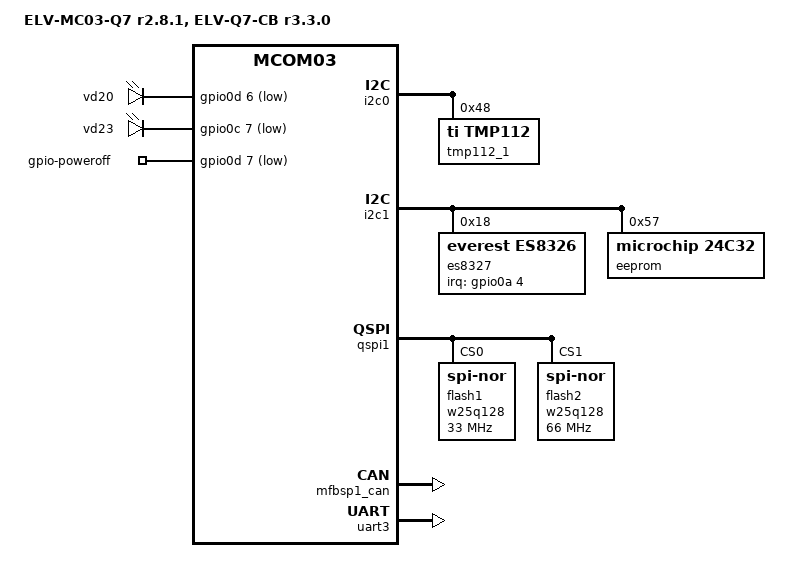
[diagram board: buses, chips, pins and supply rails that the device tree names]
// SPDX-License-Identifier: GPL-2.0+
// Copyright 2024 RnD Center "ELVEES", JSC

/dts-v1/;

#include <dt-bindings/input/linux-event-codes.h>

#include "mcom03-elvmc03q7-r2.8.1-elvq7cb-r1.0.0.dts"

/ {
	model = "ELV-MC03-Q7 r2.8.1, ELV-Q7-CB r3.3.0";
	compatible = "elvees,elvmc03q7-r2.8.1-elvq7cb-r3.3.0",
		     "elvees,elvmc03q7-elvq7cb",
		     "elvees,elvq7cb-r3.3.0",
		     "elvees,elvq7cb",
		     "elvees,elvmc03q7-r2.8.1",
		     "elvees,elvmc03q7",
		     "elvees,mcom03";

	/delete-node/ elvq7cb-leds;

	elvq7cb-leds {
		compatible = "gpio-leds";

		vd20 {
			gpios = <&gpio0d 6 GPIO_ACTIVE_LOW>;
			default-state = "off";
		};

		vd23 {
			gpios = <&gpio0c 7 GPIO_ACTIVE_LOW>;
			default-state = "off";
		};
	};

	elvq7cb-keys {
		/delete-node/ btn0;
		/delete-node/ btn1;
		/delete-node/ btn2;
		/delete-node/ btn3;
	};

	/delete-node/ vdda-codec;

	gpio-poweroff {
		compatible = "gpio-poweroff";
		gpios = <&gpio0d 7 GPIO_ACTIVE_LOW>; // Use SUS_S5 to poweroff
		timeout-ms = <1000>;
	};
};

/* TRS (3.5mm jack) connected to ES8327 codec.
   ES8327 connected to MCom-03 MFBSP0-I2S as I2S slave.
 */
&elvq7cb_i2s_asound {
	/delete-property/ simple-audio-card,routing;

	simple-audio-card,codec {
		sound-dai = <&es8327>;
	};
};

&i2c0 {
	/delete-node/ hwmon@49;
	/delete-node/ hwmon@4a;
	/delete-node/ gpio-expander@20;

	tmp112_1: temperature-sensor@48 {
		compatible = "ti,tmp112";
		reg = <0x48>;
	};
};

&i2c1 {
	/delete-node/ codec@a;
	/delete-node/ gpio-expander@20;

	es8327: codec@18 {
		compatible = "everest,es8326";
		reg = <0x18>;

		interrupt-parent = <&gpio0a>;
		interrupts = <4 IRQ_TYPE_EDGE_RISING>;

		clocks = <&audio_mclk>;
		clock-names = "mclk";
		#sound-dai-cells = <0>;
		everest,mic1-src = [22];
		everest,mic2-src = [44];
		everest,jack-pol = [0e];
		everest,interrupt-src = [08];
		everest,interrupt-clk = [45];
	};

	eeprom@57 {
		compatible = "microchip,24c32", "atmel,24c32";
		reg = <0x57>;
	};
};

&qspi1 {
	/delete-node/ m25p32@0;
	/delete-node/ m25p32@1;

	flash1: w25q128@0 {
		#address-cells = <1>;
		#size-cells = <1>;
		compatible = "jedec,spi-nor", "spi-flash";
		reg = <0x0>;
		/* This is the highest frequency at which all commands are
		 * supported by the flash device.
		 */
		spi-max-frequency = <33000000>;
		m25p,fast-read;
	};

	flash2: w25q128@1 {
		#address-cells = <1>;
		#size-cells = <1>;
		compatible = "jedec,spi-nor", "spi-flash";
		reg = <0x1>;
		/* This is the highest frequency at which all commands are
		 * supported by the flash device.
		 */
		spi-max-frequency = <66000000>;
		m25p,fast-read;
	};
};

/* Connected to XP14 socket through CAN transceiver */
&mfbsp1_can {
	status = "okay";
};

/* Connects to XP15(RS-232) or XP16(RS-485) chosen by SA7 switch */
ser0: &uart3 {
	status = "okay";

	pinctrl-names = "default";
	pinctrl-0 = <&uart3_mux_data &uart3_mux_rtscts>;
};
